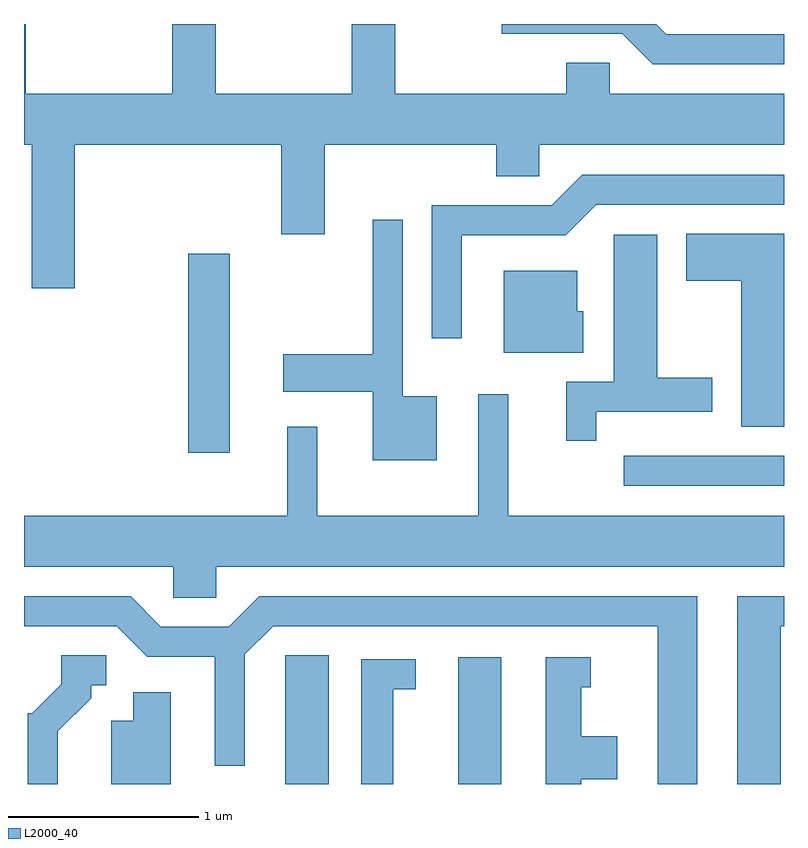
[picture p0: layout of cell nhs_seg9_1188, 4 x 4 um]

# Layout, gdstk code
import gdstk
lib = gdstk.Library(unit=1e-6, precision=1e-09)
def R(c, l, rs):  # rectangles x0, y0, x1, y1
    for r in rs: c.add(gdstk.rectangle(r[:2], r[2:], *l))
def P(c, l, *ps):  # polygons
    for p in ps: c.add(gdstk.Polygon(p, *l))
L2000_40 = (2000, 40)

nhs_seg9_1188 = lib.new_cell('nhs_seg9_1188')
R(nhs_seg9_1188, L2000_40, [(220.986,2008.432,221.214,2009.109), (221.896,2008.432,222.124,2009.099), (222.768,2010.001,223.611,2010.159), (220.476,2010.176,220.694,2011.224)])
P(nhs_seg9_1188, L2000_40, [(219.879,2011.796),(220.966,2011.796),(220.966,2011.326),(221.194,2011.326),(221.194,2011.796),(222.096,2011.796),(222.096,2011.631),(222.324,2011.631),(222.324,2011.796),(223.611,2011.796),(223.611,2012.064),(222.694,2012.064),(222.694,2012.229),(222.466,2012.229),(222.466,2012.064),(221.564,2012.064),(221.564,2012.432),(221.336,2012.432),(221.336,2012.064),(220.619,2012.064),(220.619,2012.432),(220.391,2012.432),(220.391,2012.064),(219.619,2012.064),(219.619,2012.432),(219.611,2012.432),(219.611,2011.796),(219.651,2011.796),(219.651,2011.041),(219.879,2011.041)],
  [(223.611,2012.379),(222.992,2012.379),(222.939,2012.432),(222.126,2012.432),(222.126,2012.381),(222.759,2012.381),(222.919,2012.221),(223.611,2012.221)],
  [(221.914,2011.321),(222.462,2011.321),(222.622,2011.481),(223.611,2011.481),(223.611,2011.639),(222.549,2011.639),(222.389,2011.479),(221.756,2011.479),(221.756,2010.778),(221.914,2010.778)],
  [(221.784,2010.474),(221.604,2010.474),(221.604,2011.403),(221.446,2011.403),(221.446,2010.694),(220.976,2010.694),(220.976,2010.496),(221.446,2010.496),(221.446,2010.136),(221.784,2010.136)],
  [(223.611,2011.329),(223.096,2011.329),(223.096,2011.081),(223.386,2011.081),(223.386,2010.311),(223.611,2010.311)],
  [(222.624,2010.391),(223.234,2010.391),(223.234,2010.569),(222.944,2010.569),(222.944,2011.324),(222.716,2011.324),(222.716,2010.549),(222.466,2010.549),(222.466,2010.238),(222.624,2010.238)],
  [(222.554,2010.919),(222.524,2010.919),(222.524,2011.134),(222.136,2011.134),(222.136,2010.701),(222.554,2010.701)],
  [(220.624,2009.576),(223.611,2009.576),(223.611,2009.844),(222.159,2009.844),(222.159,2010.483),(222.001,2010.483),(222.001,2009.844),(221.154,2009.844),(221.154,2010.313),(220.996,2010.313),(220.996,2009.844),(219.611,2009.844),(219.611,2009.576),(220.396,2009.576),(220.396,2009.411),(220.624,2009.411)],
  [(223.154,2009.419),(220.849,2009.419),(220.689,2009.259),(220.332,2009.259),(220.172,2009.419),(219.611,2009.419),(219.611,2009.261),(220.099,2009.261),(220.259,2009.101),(220.616,2009.101),(220.616,2008.528),(220.774,2008.528),(220.774,2009.114),(220.922,2009.261),(222.946,2009.261),(222.946,2008.432),(223.154,2008.432)],
  [(223.594,2009.261),(223.611,2009.261),(223.611,2009.419),(223.366,2009.419),(223.366,2008.432),(223.594,2008.432)],
  [(219.789,2008.709),(219.964,2008.884),(219.964,2008.951),(220.043,2008.951),(220.043,2009.109),(219.806,2009.109),(219.806,2008.957),(219.654,2008.804),(219.631,2008.804),(219.631,2008.432),(219.789,2008.432)],
  [(222.544,2008.456),(222.734,2008.456),(222.734,2008.684),(222.544,2008.684),(222.544,2008.941),(222.593,2008.941),(222.593,2009.099),(222.356,2009.099),(222.356,2008.432),(222.544,2008.432)],
  [(221.554,2008.931),(221.673,2008.931),(221.673,2009.089),(221.386,2009.089),(221.386,2008.432),(221.554,2008.432)],
  [(220.384,2008.914),(220.186,2008.914),(220.186,2008.764),(220.071,2008.764),(220.071,2008.432),(220.384,2008.432)])

lib.write_gds('nhs_seg9_1188.gds')
